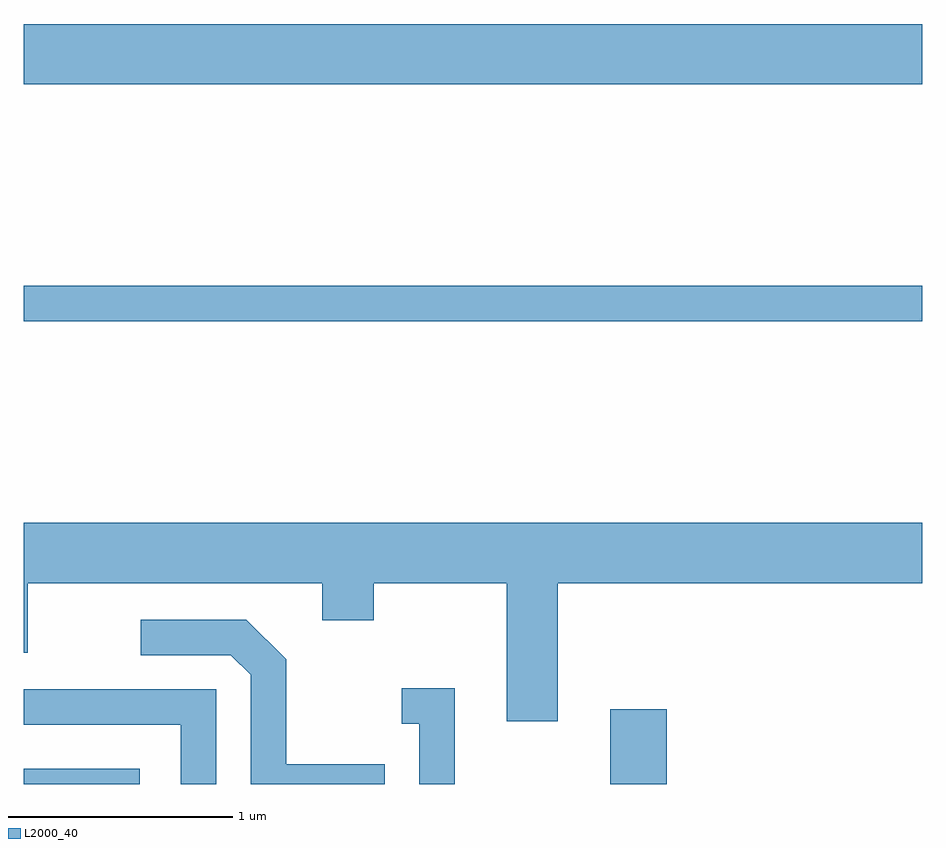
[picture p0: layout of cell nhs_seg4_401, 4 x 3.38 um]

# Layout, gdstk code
import gdstk
lib = gdstk.Library(unit=1e-6, precision=1e-09)
def R(c, l, rs):  # rectangles x0, y0, x1, y1
    for r in rs: c.add(gdstk.rectangle(r[:2], r[2:], *l))
def P(c, l, *ps):  # polygons
    for p in ps: c.add(gdstk.Polygon(p, *l))
L2000_40 = (2000, 40)

nhs_seg4_401 = lib.new_cell('nhs_seg4_401')
R(nhs_seg4_401, L2000_40, [(195.611,1375.982,196.129,1376.049), (198.221,1375.982,198.474,1376.314), (195.611,1378.041,199.611,1378.199), (195.611,1379.096,199.611,1379.364)])
P(nhs_seg4_401, L2000_40, [(197.989,1376.876),(199.611,1376.876),(199.611,1377.144),(195.611,1377.144),(195.611,1376.566),(195.629,1376.566),(195.629,1376.876),(196.941,1376.876),(196.941,1376.711),(197.169,1376.711),(197.169,1376.876),(197.761,1376.876),(197.761,1376.261),(197.989,1376.261)],
  [(197.219,1376.069),(196.779,1376.069),(196.779,1376.537),(196.602,1376.714),(196.133,1376.714),(196.133,1376.556),(196.534,1376.556),(196.621,1376.469),(196.621,1375.982),(197.219,1375.982)],
  [(197.529,1376.409),(197.293,1376.409),(197.293,1376.251),(197.371,1376.251),(197.371,1375.982),(197.529,1375.982)],
  [(196.469,1376.404),(195.611,1376.404),(195.611,1376.246),(196.311,1376.246),(196.311,1375.982),(196.469,1375.982)])

lib.write_gds('nhs_seg4_401.gds')
